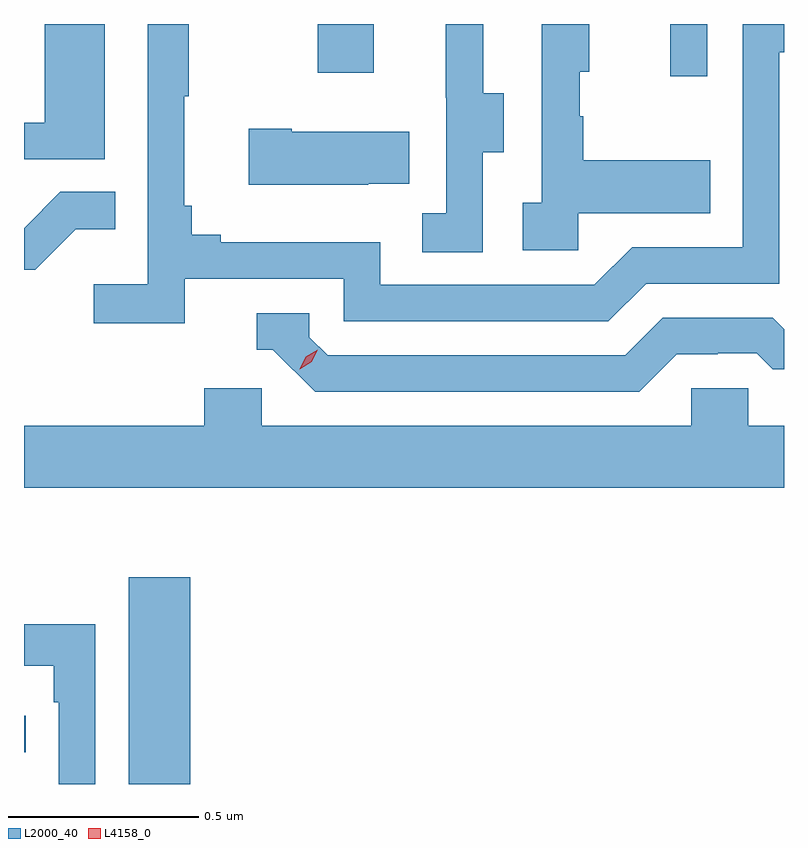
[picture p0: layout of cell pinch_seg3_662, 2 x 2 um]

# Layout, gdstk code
import gdstk
lib = gdstk.Library(unit=1e-6, precision=1e-09)
def R(c, l, rs):  # rectangles x0, y0, x1, y1
    for r in rs: c.add(gdstk.rectangle(r[:2], r[2:], *l))
def P(c, l, *ps):  # polygons
    for p in ps: c.add(gdstk.Polygon(p, *l))
L2000_40 = (2000, 40)
L4158_0 = (4158, 0)

pinch_seg3_662 = lib.new_cell('pinch_seg3_662')
R(pinch_seg3_662, L2000_40, [(1032.683,668.169,1032.844,668.713), (1032.407,668.253,1032.412,668.349), (1034.108,670.032,1034.205,670.169), (1033.18,670.041,1033.327,670.169)])
P(pinch_seg3_662, L2000_40, [(1032.619,670.169),(1032.461,670.169),(1032.461,669.909),(1032.407,669.909),(1032.407,669.813),(1032.619,669.813)],
  [(1033.614,669.832),(1033.669,669.832),(1033.669,669.987),(1033.615,669.987),(1033.615,670.169),(1033.517,670.169),(1033.517,669.975),(1033.518,669.975),(1033.518,669.671),(1033.455,669.671),(1033.455,669.568),(1033.614,669.568)],
  [(1032.83,669.498),(1033.248,669.498),(1033.248,669.387),(1033.945,669.387),(1034.044,669.486),(1034.394,669.486),(1034.394,670.095),(1034.407,670.095),(1034.407,670.169),(1034.298,670.169),(1034.298,669.582),(1034.007,669.582),(1033.908,669.483),(1033.344,669.483),(1033.344,669.595),(1032.925,669.595),(1032.925,669.614),(1032.848,669.614),(1032.848,669.691),(1032.829,669.691),(1032.829,669.979),(1032.841,669.979),(1032.841,670.169),(1032.732,670.169),(1032.732,669.484),(1032.591,669.484),(1032.591,669.382),(1032.83,669.382)],
  [(1033.866,669.671),(1034.213,669.671),(1034.213,669.811),(1033.879,669.811),(1033.879,669.926),(1033.869,669.926),(1033.869,670.044),(1033.894,670.044),(1033.894,670.169),(1033.77,670.169),(1033.77,669.698),(1033.719,669.698),(1033.719,669.573),(1033.866,669.573)],
  [(1033.313,669.749),(1033.421,669.749),(1033.421,669.886),(1033.111,669.886),(1033.111,669.894),(1032.999,669.894),(1032.999,669.746),(1033.313,669.746)],
  [(1032.543,669.629),(1032.647,669.629),(1032.647,669.728),(1032.503,669.728),(1032.407,669.632),(1032.407,669.522),(1032.436,669.522)],
  [(1034.125,669.3),(1034.232,669.3),(1034.232,669.303),(1034.335,669.303),(1034.377,669.261),(1034.407,669.261),(1034.407,669.366),(1034.377,669.396),(1034.088,669.396),(1033.989,669.297),(1033.206,669.297),(1033.158,669.345),(1033.158,669.408),(1033.019,669.408),(1033.019,669.312),(1033.062,669.312),(1033.173,669.201),(1034.026,669.201)],
  [(1034.407,669.112),(1034.313,669.112),(1034.313,669.21),(1034.163,669.21),(1034.163,669.112),(1033.032,669.112),(1033.032,669.21),(1032.881,669.21),(1032.881,669.112),(1032.407,669.112),(1032.407,668.948),(1034.407,668.948)],
  [(1032.594,668.59),(1032.407,668.59),(1032.407,668.48),(1032.485,668.48),(1032.485,668.384),(1032.498,668.384),(1032.498,668.169),(1032.594,668.169)])
P(pinch_seg3_662, L4158_0, [(1033.133,669.26),(1033.133,669.261),(1033.149,669.293),(1033.18,669.312),(1033.18,669.312),(1033.18,669.312),(1033.164,669.28),(1033.133,669.26)])

lib.write_gds('pinch_seg3_662.gds')
